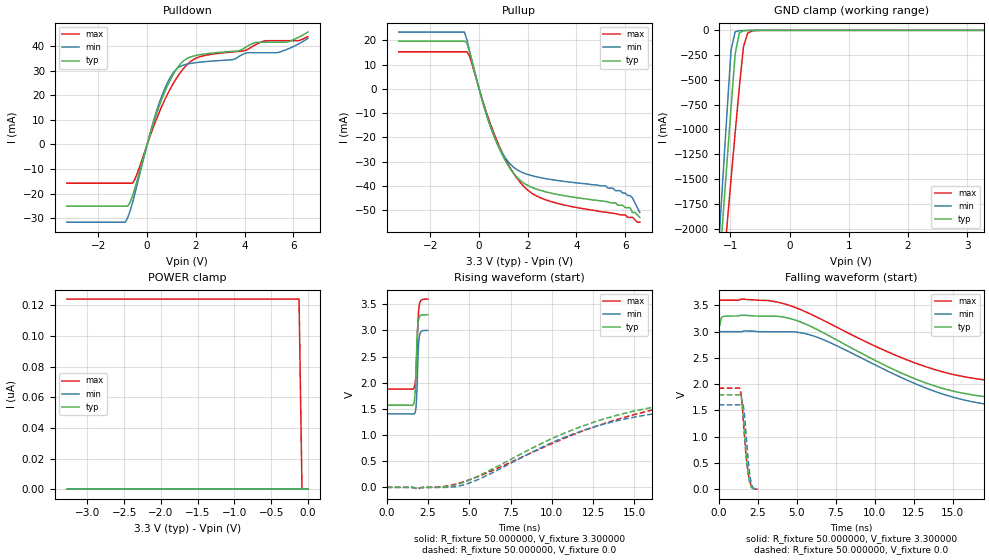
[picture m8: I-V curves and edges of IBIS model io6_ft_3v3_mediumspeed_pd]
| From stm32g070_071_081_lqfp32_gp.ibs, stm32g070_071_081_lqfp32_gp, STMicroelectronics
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|   Model io6_ft_3v3_mediumspeed_pd
[Model]  io6_ft_3v3_mediumspeed_pd
Model_type I/O
Polarity   Non-Inverting
Enable   Active-Low
Vinl =   0.990000V
Vinh =   2.310000V
Vmeas =  1.650000V
Cref =   50.000000pF
Rref =   100.000000M
Vref =   0.0V
C_comp   1.290400pF   1.272500pF   1.305600pF
[Temperature Range]   25.000000   -40.000000   0.125000k
[Pullup Reference]   3.300000V   3.000000V   3.600000V
[Pulldown Reference]   0.0V   0.0V   0.0V
[POWER Clamp Reference]   3.300000V   3.000000V   3.600000V
[GND Clamp Reference]   0.0V   0.0V   0.0V
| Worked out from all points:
|   slope of the pulldown table from 0 to 0.495 V, typ, clamps not added: 31.8 ohm
|   slope of the pullup table from 0 to 0.495 V, typ, clamps not added: 30.4 ohm
|   GND clamp passes 1 mA (typ) near -0.65 V on its own axis
|   rising waveform, R_fixture 50.000000, V_fixture 3.300000: 20-80 % time 114ps typ, 109ps min, 129ps max; typ from 1.57 V to 3.3 V
|   rising waveform, R_fixture 50.000000, V_fixture 0.0: 20-80 % time 8.23ns typ, 7.46ns min, 10.1ns max; typ from 0 V to 1.79 V
|   falling waveform, R_fixture 50.000000, V_fixture 3.300000: 20-80 % time 7.53ns typ, 7.46ns min, 8.06ns max; typ from 3.3 V to 1.57 V
|   falling waveform, R_fixture 50.000000, V_fixture 0.0: 20-80 % time 299ps typ, 288ps min, 331ps max; typ from 1.79 V to 0 V
[Pulldown]
|Voltage   I(typ)   I(min)   I(max)
-3.3V     -25.03mA   -31.54mA   -15.7mA
-900mV    -25.03mA   -31.54mA   -15.7mA
-700mV    -23.48mA   -26.95mA   -15.7mA
-500mV    -17.69mA   -19.75mA   -14.07mA
100mV     3.479mA    3.853mA    2.862mA
500mV     15.71mA    16.96mA    13.17mA
900mV     25.22mA    26.33mA    21.66mA
1.3V      31.91mA    31.32mA    28.29mA
2.2V      36.48mA    33.43mA    35.69mA
4.1V      39.78mA    37.21mA    38.43mA
5.4V      41.49mA    37.39mA    42.11mA
6.6V      45.6mA     43.05mA    43.74mA
[Pullup]
|Voltage   I(typ)   I(min)   I(max)
-3.3V     19.64mA    23.39mA    15.25mA
-600mV    19.64mA    23.39mA    15.25mA
-500mV    18.98mA    20.19mA    15.25mA
-400mV    15.37mA    16.06mA    13.73mA
100mV     -3.672mA   -3.825mA   -3.371mA
600mV     -19.12mA   -19.15mA   -18.08mA
1.2V      -31.74mA   -30.12mA   -31.25mA
1.8V      -38.62mA   -34.59mA   -39.86mA
3V        -43.11mA   -37.48mA   -46.63mA
5.8V      -48mA      -42mA      -52mA
6.3V      -51mA      -45mA      -53mA
6.6V      -53mA      -51mA      -55mA
[GND_clamp]
|Voltage   I(typ)   I(min)   I(max)
-3.3V     -9.61A     -9.635A    -9.699A
-1.2V     -2.493A    -2.184A    -2.958A
-1.13V    -1.917A    -1.512A    -2.469A
-1.06V    -1.345A    -845.6mA   -1.983A
-990mV    -779.8mA   -200.2mA   -1.503A
-920mV    -235.6mA   -14.2mA    -1.03A
-850mV    -26.08mA   -3.351mA   -574.2mA
-780mV    -4.512mA   -1.821mA   -166.4mA
-710mV    -1.735mA   -881.8uA   -29.46mA
-640mV    -819.4uA   -295.6uA   -6.294mA
3.28V     86.85uA    64.2uA     109.1uA
[POWER_clamp]
|Voltage   I(typ)   I(min)   I(max)
-3.28V    0A         0A         124nA
-120mV    0A         0A         124nA
-80mV     0A         0A         0A
0V        0A         0A         0A
[Ramp]
| variable   typ   min   max
dV/dt_r  1.07520/8.22726n   0.96294/7.44895n   1.14666/10.09657n
dV/dt_f  1.03122/14.35073n   0.95388/7.44449n   1.02582/8.04918n
R_load = 50.000000
[Rising Waveform]
R_fixture= 50.000000
V_fixture= 3.300000
V_fixture_min= 3.000000
V_fixture_max= 3.600000
|time   V(typ)   V(min)   V(max)
0s        1.57V      1.405V     1.878V
1.542ns   1.566V     1.403V     1.875V
1.657ns   1.62V      1.402V     1.904V
1.727ns   1.831V     1.438V     1.997V
1.792ns   2.386V     1.595V     2.294V
1.852ns   2.937V     2.054V     2.801V
1.917ns   3.182V     2.646V     3.293V
1.967ns   3.246V     2.852V     3.467V
2.052ns   3.283V     2.962V     3.562V
2.492ns   3.299V     2.999V     3.598V
[Rising Waveform]
R_fixture= 50.000000
V_fixture= 0.0
V_fixture_min= 0.0
V_fixture_max= 0.0
|time   V(typ)   V(min)   V(max)
0s        3.211nV    2.528nV    185.4nV
1.922ns   -21.16mV   -33.8mV    -31.31mV
3.604ns   10.6mV     -175.7uV   23.36mV
4.565ns   85.93mV    39.17mV    95.98mV
11.53ns   1.132V     1.047V     1.035V
14.25ns   1.403V     1.294V     1.324V
16.74ns   1.562V     1.429V     1.522V
20.18ns   1.682V     1.526V     1.705V
24.42ns   1.748V     1.575V     1.819V
39.88ns   1.794V     1.606V     1.922V
[Falling Waveform]
R_fixture= 50.000000
V_fixture= 3.300000
V_fixture_min= 3.000000
V_fixture_max= 3.600000
|time   V(typ)   V(min)   V(max)
0s        3.299V     2.999V     3.598V
80.08ps   3.118V     2.999V     3.598V
240.2ps   3.282V     2.999V     3.598V
1.441ns   3.312V     2.998V     3.616V
3.844ns   3.289V     2.997V     3.557V
5.766ns   3.117V     2.945V     3.35V
12.25ns   2.14V      2.051V     2.44V
16.34ns   1.791V     1.659V     2.11V
23.54ns   1.631V     1.469V     1.946V
39.88ns   1.57V      1.405V     1.878V
[Falling Waveform]
R_fixture= 50.000000
V_fixture= 0.0
V_fixture_min= 0.0
V_fixture_max= 0.0
|time   V(typ)   V(min)   V(max)
0s        1.794V     1.606V     1.922V
1.371ns   1.804V     1.606V     1.906V
1.436ns   1.776V     1.61V      1.813V
1.491ns   1.681V     1.617V     1.66V
1.617ns   1.226V     1.52V      1.165V
1.762ns   658.1mV    1.019V     632.4mV
1.922ns   234.2mV    471.9mV    254.4mV
2.032ns   80.05mV    210mV      108.9mV
2.142ns   22.72mV    61.87mV    36.47mV
2.492ns   3.211nV    2.528nV    185.4nV
